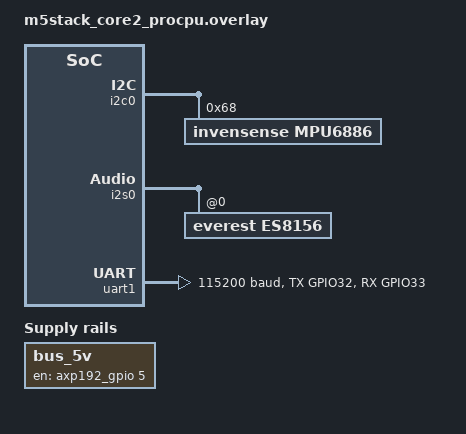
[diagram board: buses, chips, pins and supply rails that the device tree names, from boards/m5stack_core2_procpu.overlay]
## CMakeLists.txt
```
cmake_minimum_required(VERSION 3.20.0)
find_package(Zephyr REQUIRED HINTS $ENV{ZEPHYR_BASE})
project(pet)

FILE(GLOB app_sources src/*.c)

FILE(GLOB gfx_sources src/bitmaps/*.c)

FILE(GLOB lib_sources ../../lib/*.c)

target_sources(app PRIVATE ${gfx_sources} ${app_sources} ${lib_sources})

target_include_directories(app PRIVATE ../../include)
```

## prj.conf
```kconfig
# CONFIG_SDHC_LOG_LEVEL_DBG=y
# CONFIG_LOG_MODE_IMMEDIATE=y
# CONFIG_SPI_LOG_LEVEL_DBG=y
CONFIG_HWINFO=y
CONFIG_EVENTS=y

CONFIG_FPU=y
# Display
CONFIG_LVGL=y
CONFIG_DISPLAY=y
CONFIG_LV_Z_MEM_POOL_SIZE=38000

CONFIG_ESP32_REGION_1_NOINIT=y

# Stack & Runtime
CONFIG_MAIN_STACK_SIZE=4096

# Misc
CONFIG_I2S=y
CONFIG_I2C=y
CONFIG_RTC=y

# UART
CONFIG_SERIAL=y
CONFIG_UART_INTERRUPT_DRIVEN=y
CONFIG_UART_ESP32=y

# Bluetooth
CONFIG_BT=y
CONFIG_BT_OBSERVER=y
CONFIG_BT_BROADCASTER=y

CONFIG_SHELL=y
CONFIG_SHELL_BACKEND_SERIAL=y
```

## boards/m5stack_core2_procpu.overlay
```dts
&i2c0 {
    mpu6886: mpu6886@68 {
        compatible = "invensense,mpu6886";
        reg = <0x68>;
        status = "okay";
    };
};

&i2s0 {
    status = "okay";
    pinctrl-0 = <&i2s0_default>;
    pinctrl-names = "default";
    #address-cells = <1>;
    #size-cells = <0>;

    es8156: codec@0 {
        compatible = "everest,es8156";
        reg = <0>;
    };
};

&uart1 {
	status = "okay";
	current-speed = <115200>;
	pinctrl-0 = <&uart1_default>;
	pinctrl-names = "default";
};

&pinctrl {

	uart1_default: uart1_default {
		group1 {
			pinmux = <UART1_TX_GPIO32>,
					 <UART1_RX_GPIO33>;
			bias-disable;
		};
	};

	i2s0_default: i2s0_default {
		group1 {
			pinmux = <I2S0_O_WS_GPIO0>,   /* LRCK */
					<I2S0_O_BCK_GPIO12>, /* BCLK */
					<I2S0_O_SD_GPIO2>;   /* SADTA */
			output-enable;
        };
    };
};


/ {

	aliases {
		u1 = &uart1;
		i2s-tx = &i2s0;
	};

	chosen {

		zephyr,console = &uart0;
		zephyr,shell-uart = &uart0;
	};

	bus_5v: bus_5v {
		compatible = "regulator-fixed";
		regulator-name = "bus_5v";
		enable-gpios = <&axp192_gpio 5 GPIO_ACTIVE_HIGH>;
		regulator-boot-on;
	};

};
```

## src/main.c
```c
#include <stdio.h>
#include <string.h>
#include <time.h>

#include <lvgl.h>
#include <lvgl_input_device.h>

#include <zephyr/kernel.h>
#include <zephyr/device.h>
#include <zephyr/devicetree.h>
#include <zephyr/drivers/display.h>
#include <zephyr/drivers/gpio.h>
#include <zephyr/drivers/hwinfo.h>
#include <zephyr/logging/log.h>
#include <zephyr/shell/shell.h>

#include "friends.h"
#include "journal.h"
#include "scenes.h"
#include "comms.h"
#include "os_ble.h"
#include "os_uart.h"
#include "personality.h"

// #include "sound.h"
#include "mood.h"
#include "rtc.h"
#include "mpu6886.h"

#define GAME_EVT_JOURNAL_RX_DONE 0x01
#define GAME_EVT_OTHER_PET_CONNECTED 0x02
#define GAME_EVT_OTHER_PET_RSSI 0x04
#define GAME_EVT_RTC_UPDATED 0x08
#define GAME_EVT_ACCEL_SHAKE 0x10

#define GAME_EVTS_ALL GAME_EVT_JOURNAL_RX_DONE | GAME_EVT_OTHER_PET_CONNECTED | GAME_EVT_OTHER_PET_RSSI | GAME_EVT_RTC_UPDATED | GAME_EVT_ACCEL_SHAKE

#define UART_JOURNAL_TX_COOLDOWN 100

struct k_timer comms_state_timer;
struct k_timer mini_check_timer;

struct k_event game_event_block;
struct k_sem uart_srvc_lock;

pet_exchange_state_pkt_s pex_state_pkt;
pet_exchange_state_pkt_s their_pex_state_pkt;

pet_exchange_journal_evt_pkt_s my_pex_journal_evt_pkt;
pet_exchange_journal_evt_pkt_s their_pex_journal_evt_pkt;

pet_personality_pkt_s my_pet_ppy_pkt;
pet_personality_pkt_s their_pet_ppy_pkt;

pet_wfc_pkt_demo_cmd_s pet_wfc_demo_pkt;
// NOTE: this will control the initial RTC time
pet_wfc_rtc_pkt_s pet_wfc_rtc_pkt = {
	.day = 17,
	.month = 3,
	.year = 102,

	.hrs = 13,
	.mins = 0,
	.secs = 0

};
pet_wfc_weather_pkt_s pet_wfc_weather_pkt;

pet_uart_srvc_rssi_pkt_s pet_uart_srvc_rssi_pkt;

struct tm time_state_container = {
	.tm_hour = 0,
	.tm_min = 0,
	.tm_sec = 0,

	.tm_mday = 0,
	.tm_mon = 0,
	.tm_year = 0};

struct tm epoch_container = {
	.tm_hour = 0,
	.tm_min = 0,
	.tm_sec = 0,

	.tm_mday = 0,
	.tm_mon = 0,
	.tm_year = 0};

time_t epoch;

os_uart_passthru_s uart_passthru_rx = {
	.len = -1,
	.buff = {0}};

os_uart_passthru_s uart_passthru_tx = {
	.len = -1,
	.buff = {0}};

typedef struct
{

	int count;
	int rendered;
} shake_state_s;

pex_uuid_t close_mate = 0x0000;

#define ACCEL_POLL_PERIOD 500

#define SHAKE_MAGNITUDE_THRESH 3
#define SHAKE_COUNT_THRESH 6

#define SHAKE_RENDER_LOOPS 14

shake_state_s shake_state = {
	.count = 0,
	.rendered = 0};

void update_epoch_from_pkt()
{

	epoch_container.tm_hour = pet_wfc_rtc_pkt.hrs;
	epoch_container.tm_min = pet_wfc_rtc_pkt.mins;
	epoch_container.tm_sec = pet_wfc_rtc_pkt.secs;

	epoch_container.tm_mday = pet_wfc_rtc_pkt.day;
	epoch_container.tm_mon = pet_wfc_rtc_pkt.month;
	epoch_container.tm_year = pet_wfc_rtc_pkt.year + 1900;

	epoch = mktime(&epoch_container);
}

void update_pkt_from_epoch()
{

	pet_wfc_rtc_pkt.hrs = epoch_container.tm_hour;
	pet_wfc_rtc_pkt.mins = epoch_container.tm_min;
	pet_wfc_rtc_pkt.secs = epoch_container.tm_sec;

	pet_wfc_rtc_pkt.day = epoch_container.tm_mday;
	pet_wfc_rtc_pkt.month = epoch_container.tm_mon;
	pet_wfc_rtc_pkt.year = epoch_container.tm_year - 1900;
}

void init_personality()
{

	// hwinfo_get_device_id((uint8_t *)pet_pex_id, sizeof(pex_uuid_t));
	uint8_t device_id[2];
	hwinfo_get_device_id(device_id, sizeof(device_id));
	pet_pex_id = device_id[0] << 8 | device_id[1]; 
	printf("Device ID: 0x%04X\n", pet_pex_id);

	my_pet_ppy_pkt.id = pet_pex_id;
	my_pet_ppy_pkt.sprite = their_pet_ppy_pkt.sprite;

	my_pet_ppy_pkt.fav_drink = pet_favs.drink;
	my_pet_ppy_pkt.fav_food = pet_favs.food;
	my_pet_ppy_pkt.fav_scene = pet_favs.scene;
	my_pet_ppy_pkt.fav_temp = pet_favs.temp;
	my_pet_ppy_pkt.fav_time = pet_favs.time;

	memcpy(my_pet_ppy_pkt.weights, pet_personality_weights, PET_ATTR_NEG_MAX);
}

void update_personality()
{

	pet_favs.drink = their_pet_ppy_pkt.fav_drink;
	pet_favs.food = their_pet_ppy_pkt.fav_food;
	pet_favs.scene = their_pet_ppy_pkt.fav_scene;
	pet_favs.temp = their_pet_ppy_pkt.fav_temp;
	pet_favs.time = their_pet_ppy_pkt.fav_time;

	memcpy(pet_personality_weights, their_pet_ppy_pkt.weights, PET_ATTR_NEG_MAX);

	// update my_pet_ppy_pkt
	init_personality();
	scenes_set_sprite(my_pet_ppy_pkt.sprite);
}

uint16_t get_since_epoch()
{
	time_t current = mktime(&time_state_container);
	return (uint16_t)(current - epoch);
}

void comms_state_timeout(struct k_timer *timer)
{

	if (timer == NULL || k_sem_take(&uart_srvc_lock, K_NO_WAIT))
	{
		return;
	}

	mod_mood_e mapped_mood = MOD_MOOD_NEUTRAL;
	switch (pet_mood.expression)
	{
	case EXPRESSION_ENLIGHTENED:
		mapped_mood = MOD_MOOD_HAPPY;
		break;
	case EXPRESSION_V_HAPPY:
		mapped_mood = MOD_MOOD_HAPPY;
		break;
	case EXPRESSION_HAPPY:
		mapped_mood = MOD_MOOD_HAPPY;
		break;
	case EXPRESSION_NEUTRAL:
		mapped_mood = MOD_MOOD_NEUTRAL;
		break;
	case EXPRESSION_SAD:
		mapped_mood = MOD_MOOD_SAD;
		break;
	case EXPRESSION_V_SAD:
		mapped_mood = MOD_MOOD_SAD;
		break;
	case EXPRESSION_ANGRY:
		mapped_mood = MOD_MOOD_ANGRY;
		break;
	case EXPRESSION_SLEEPY:
		mapped_mood = MOD_MOOD_SLEEPY;
		break;
	default:
		mapped_mood = MOD_MOOD_NEUTRAL;
		break;
	}
	scenes_set_mood(mapped_mood);

	pex_state_pkt.scene = (uint8_t)scenes_state.main_scene;

	pex_state_pkt.scene_weather = (uint8_t)pet_mood.happiness / 4;
	pex_state_pkt.scene_mood = (uint8_t)pet_mood.energy / 4;
	pex_state_pkt.scene_time = (uint8_t)pet_mood.health / 4;
	pex_state_pkt.scene_temp = (uint8_t)pet_mood.interaction / 4;

	pex_state_pkt.held_drink = (uint8_t)pet_mood.expression;
	pex_state_pkt.held_food = (uint8_t)pet_mood.affection / 4;

	uart_passthru_rx.len = serialize_pet_exchange_state_pkt(&pex_state_pkt, uart_passthru_rx.buff);
	os_uart_passthru(&uart_passthru_rx);

	uart_passthru_rx.len = serialize_pet_personality_pkt(&my_pet_ppy_pkt, uart_passthru_rx.buff);
	os_uart_passthru(&uart_passthru_rx);

	k_sem_give(&uart_srvc_lock);
}

void process_ble_passthru_packet()
{

	switch (uart_passthru_rx.buff[0])
	{

	case PET_PKT_WFC_DEMO_COMMAND:
		deserialize_pet_wfc_demo_cmd_pkt(&pet_wfc_demo_pkt, uart_passthru_rx.buff);

		switch (pet_wfc_demo_pkt.cmd_id)
		{

		case PET_WFC_CMD_CHANGE_SCENE:
			scenes_set_main(pet_wfc_demo_pkt.cmd_arg);
			break;
		case PET_WFC_CMD_CHANGE_MOOD:
			scenes_set_mood(pet_wfc_demo_pkt.cmd_arg);
			break;
		case PET_WFC_CMD_CHANGE_TIME:
			scenes_set_time(pet_wfc_demo_pkt.cmd_arg);
			break;

		case PET_WFC_CMD_ADD_FRIEND:
			if (pet_wfc_demo_pkt.cmd_arg == PEX_ID_RESERVED_NULL)
			{
				// requests our friends list

				break;
			}

			friends_add_friend(pet_wfc_demo_pkt.cmd_arg);
			break;
		case PET_WFC_CMD_REM_FRIEND:
			friends_rem_friend(pet_wfc_demo_pkt.cmd_arg);
			break;
		case PET_WFC_CMD_ADD_ENEMY:
			if (pet_wfc_demo_pkt.cmd_arg == PEX_ID_RESERVED_NULL)
			{
				// requests our enemies list

				break;
			}

			friends_add_enemy(pet_wfc_demo_pkt.cmd_arg);
			break;
		case PET_WFC_CMD_REM_ENEMY:
			friends_rem_friend(pet_wfc_demo_pkt.cmd_arg);
			break;

		case PET_WFC_CMD_GET_TIME:

			k_sem_take(&uart_srvc_lock, K_FOREVER);

			update_pkt_from_epoch();

			uart_passthru_tx.len = serialize_pet_wfc_rtc_pkt(
				&pet_wfc_rtc_pkt, uart_passthru_tx.buff);
			os_uart_passthru(&uart_passthru_tx);

			k_sem_give(&uart_srvc_lock);
			break;

		case PET_WFC_CMD_INIT_CONN:
			scenes_show_wfc_icon(true);
			break;
		case PET_WFC_CMD_CLOSE_CONN:
			scenes_show_wfc_icon(false);
			break;

		default:
			break;
		}

	case PET_PKT_WFC_WEATHER_UPDATE:
		deserialize_pet_wfc_weather_pkt(&pet_wfc_weather_pkt, uart_passthru_rx.buff);

		scenes_set_weather(pet_wfc_weather_pkt.weather);
		scenes_set_temp_from_int_c(pet_wfc_weather_pkt.temp_c);
		break;
	case PET_PKT_WFC_RTC_UPDATE:
		deserialize_pet_wfc_rtc_pkt(&pet_wfc_rtc_pkt, uart_passthru_rx.buff);

		update_epoch_from_pkt();

		rtc_set_datetime(pet_wfc_rtc_pkt.year, pet_wfc_rtc_pkt.month,
						 pet_wfc_rtc_pkt.day, pet_wfc_rtc_pkt.hrs,
						 pet_wfc_rtc_pkt.mins, pet_wfc_rtc_pkt.secs);
		break;

	case PET_PKT_PPY_PERSONALITY:
		deserialize_pet_personality_pkt(&their_pet_ppy_pkt, uart_passthru_rx.buff);

		if (their_pet_ppy_pkt.id == SIENNA_MF_ID)
		{
			// request came from da club, update my personality
			update_personality();
			break;
		}

		// other pet's personality, do something with it
		break;

	case PET_PKT_PEX_STATE:
		deserialize_pet_exchange_state_pkt(&their_pex_state_pkt, uart_passthru_rx.buff);

		// other pet's state, do something with it
		break;

	case PET_PKT_PEX_JOURNAL_EVT:
		deserialize_pet_exchange_journal_evt_pkt(&their_pex_journal_evt_pkt, uart_passthru_rx.buff);

		if (their_pex_journal_evt_pkt.index == JOURNAL_REQUEST_MAGIC_NUM)
		{
			// send my journal
			k_sem_take(&uart_srvc_lock, K_FOREVER);

			int to_tx = journal_idx;

			for (int i = 0; i < to_tx; i++)
			{

				my_pex_journal_evt_pkt.index = i == to_tx - 1
					? JOURNAL_FINISHED_MAGIC_NUM
					: i;

				my_pex_journal_evt_pkt.id = pet_pex_id;

				journal_dupe_entry(&my_pex_journal_evt_pkt.entry, &journal[i]);

				uart_passthru_tx.len = serialize_pet_exchange_journal_evt_pkt(
					&my_pex_journal_evt_pkt, uart_passthru_tx.buff);
				os_uart_passthru(&uart_passthru_tx);

				// make sure we dont miss any packets here
				// its ok for this to be hacky and take longer
				// since this transfer typically only happens once
				k_sleep(K_MSEC(UART_JOURNAL_TX_COOLDOWN));
			}

			os_uart_passthru(&uart_passthru_tx);
			k_sem_give(&uart_srvc_lock);
			break;
		}

		// partner's journal, let's add it
		journal_partner_add_entry(&their_pex_journal_evt_pkt.entry);
		if (their_pex_journal_evt_pkt.index == JOURNAL_FINISHED_MAGIC_NUM)
		{
			k_event_post(&game_event_block, GAME_EVT_JOURNAL_RX_DONE);
		}
		break;

	case PET_PKT_UART_RSSI:
		deserialize_pet_uart_srvc_rssi_pkt(&pet_uart_srvc_rssi_pkt, uart_passthru_rx.buff);
		k_event_post(&game_event_block, GAME_EVT_OTHER_PET_RSSI);

		break;

	default:
		break;
	}
}

/* <-- UART_HANDLER -->
 *
 * responsible for managing UART comms with the uplink
 * and scene updates after one-shot operations
 *
 * own's the partner's journal
 *
 * WARNING: no other thread should add to partner's journal
 * WARNING: no other thread should rx/tx UART */

K_THREAD_STACK_DEFINE(stack_uart_handler, 2048);
struct k_thread thread_uart_handler_data;

static void thread_uart_handler(void *a, void *b, void *c)
{

	k_timer_init(&comms_state_timer, comms_state_timeout, NULL);
	k_timer_start(&comms_state_timer, K_SECONDS(3), K_SECONDS(3));

	while (true)
	{

		k_msgq_get(&os_uart_rxq, &uart_passthru_rx, K_FOREVER);
		process_ble_passthru_packet();
	}
}

void mini_check_timeout(struct k_timer *timer)
{

	scenes_update_mini_pkt_register(k_uptime_get());
}

/* <-- GAME_HANDLER -->

 * responsible for managing journal entries
 * and scene updates after long-running operations
 *
 * own's my journal
 *
 * WARNING: no other thread should add to journal */

mpu6886_accel_t accel;

K_THREAD_STACK_DEFINE(stack_game_handler, 4096);
struct k_thread thread_game_handler_data;

static void thread_game_handler(void *a, void *b, void *c)
{

	uint32_t game_events = 0;
	float magnitude = 1;

	// start our day :)
	journal_add_entry(JOURNAL_EVT_WAKE, get_since_epoch());

	k_timer_init(&mini_check_timer, mini_check_timeout, NULL);
	k_timer_start(&mini_check_timer, K_SECONDS(5), K_SECONDS(5));

	while (true)
	{

		game_events = k_event_wait(&game_event_block, GAME_EVTS_ALL, true, K_FOREVER);

		if (game_events & GAME_EVT_JOURNAL_RX_DONE)
		{
			// should display the appropriate screen here
		}

		if (game_events & GAME_EVT_OTHER_PET_CONNECTED)
		{
			journal_add_entry(JOURNAL_EVT_VISIT, get_since_epoch());
		}

		if (game_events & GAME_EVT_OTHER_PET_RSSI)
		{

			if (scenes_process_mini_pkt_rx(k_uptime_get(), pet_uart_srvc_rssi_pkt.pex_state.scene,
				pet_uart_srvc_rssi_pkt.id, pet_uart_srvc_rssi_pkt.sprite)) {
					goto LBL_SKIP_JOURNAL_LOG;
				}

			switch (friends_pex_id_is_what(pet_uart_srvc_rssi_pkt.id))
			{
			case FRIENDSHIP_FRIEND:
				journal_add_entry(JOURNAL_EVT_PROX_FRIEND, get_since_epoch());
				break;
			case FRIENDSHIP_ENEMY:
				journal_add_entry(JOURNAL_EVT_PROX_ENEMY, get_since_epoch());
				break;

			default:
				break;
			}

			LBL_SKIP_JOURNAL_LOG:

			if (pet_uart_srvc_rssi_pkt.rssi > -80)
			{
				scenes_allow_wfc();
				close_mate = pet_uart_srvc_rssi_pkt.id;
			}
		}

		if (game_events & GAME_EVT_RTC_UPDATED)
		{
			// check current time and if diff to last then
			// add journal for sleepy or whatever
		}

		if (game_events & GAME_EVT_ACCEL_SHAKE)
		{

			shake_state.count += 1;

			if (shake_state.count > SHAKE_COUNT_THRESH)
			{
				switch (shake_state.rendered)
				{
				case 0:
					// we're sick, toggle log and render
					scenes_toggle_sick();
					journal_add_entry(JOURNAL_EVT_SHAKE, get_since_epoch());
					shake_state.rendered = 1;
					break;
				default:
					// we haven't rendered yet, do nothing.
					// NOTE: next state change set by main thread
					break;
				}
			}
		}
	}
}

K_THREAD_STACK_DEFINE(stack_mood_handler, MOOD_THREAD_STACK_SIZE);
struct k_thread thread_mood_handler_data;

void mood_thread(void *arg1, void *arg2, void *arg3)
{
	mpu6886_accel_t accel;
	float accel_mag;
	while (1)
	{
		if (k_mutex_lock(&mood_mutex, K_MSEC(50)) == 0)
		{
			mood_step();
			mpu6886_read_accel(&accel);
			accel_mag = mpu6886_get_adjusted_accel_magnitude(&accel);
			if (accel_mag > 1)
			{
				pet_mood.health -= 50;
				k_event_post(&game_event_block, GAME_EVT_ACCEL_SHAKE);
			}
			// mood_print(&pet_mood);
			k_mutex_unlock(&mood_mutex);
		}
		// display_update_mood();
		k_sleep(K_MSEC(100));
	}
}

int main()
{

	const struct device *display_dev;
	k_tid_t tid_uart_handler, tid_game_handler, tid_mood_handler;

	display_dev = DEVICE_DT_GET(DT_CHOSEN(zephyr_display));
	if (!device_is_ready(display_dev))
	{
		return 1;
	}

	k_sem_init(&uart_srvc_lock, 1, 1);

	update_epoch_from_pkt();

	rtc_set_datetime(pet_wfc_rtc_pkt.year, pet_wfc_rtc_pkt.month,
					 pet_wfc_rtc_pkt.day, pet_wfc_rtc_pkt.hrs,
					 pet_wfc_rtc_pkt.mins, pet_wfc_rtc_pkt.secs);

	mood_init();
	sound_init();
	if (mpu6886_init())
	{
		return 2;
	}

	init_personality();

	if (!os_ble_init())
	{
		return 3;
	}

	if (!os_uart_init())
	{
		return 4;
	};

	if (!device_is_ready(mpu6886_i2c.bus))
	{
		return 5;
	}

	k_event_init(&game_event_block);

	friends_add_friend(0xBABA);

	tid_uart_handler = k_thread_create(
		&thread_uart_handler_data,
		stack_uart_handler,
		K_THREAD_STACK_SIZEOF(stack_uart_handler),
		thread_uart_handler,
		NULL, NULL, NULL,
		2, 0, K_NO_WAIT);

	tid_game_handler = k_thread_create(
		&thread_game_handler_data,
		stack_game_handler,
		K_THREAD_STACK_SIZEOF(stack_game_handler),
		thread_game_handler,
		NULL, NULL, NULL,
		2, 0, K_NO_WAIT);

	tid_mood_handler = k_thread_create(
		&thread_mood_handler_data,
		stack_mood_handler,
		K_THREAD_STACK_SIZEOF(stack_mood_handler),
		mood_thread,
		NULL, NULL, NULL,
		MOOD_THREAD_PRIORITY, 0, K_NO_WAIT);

	scenes_init();
	comms_state_timeout(NULL); // should set the daynight cycle properly
	scenes_draw();

	display_blanking_off(display_dev);

	int connect_counter = 0;

	while (1)
	{

		// main thread's only job is
		// screen refresh 2Hz
		scenes_draw();
		k_sleep(K_MSEC(100));

		get_since_epoch();

		// update the scene from the RTC
		if (time_state_container.tm_hour < 6)
		{
			scenes_set_time(MOD_TIME_NIGHT);
		}
		else if (time_state_container.tm_hour < 12)
		{
			scenes_set_time(MOD_TIME_MORNING);
		}
		else if (time_state_container.tm_hour < 18)
		{
			scenes_set_time(MOD_TIME_AFTERNOON);
		}
		else if (time_state_container.tm_hour < 24)
		{
			scenes_set_time(MOD_TIME_NIGHT);
		}

		if (shake_state.rendered > 0)
		{
			shake_state.rendered += 1;
		}

		if (scenes_state.allow_wfc) {
			connect_counter += 1;

			if (connect_counter == 20) {
				scenes_delete_wfc();
				connect_counter = 0;
			}
		}

		// get rid of sick for next iter
		if (shake_state.rendered == SHAKE_RENDER_LOOPS)
		{
			scenes_toggle_sick();
			shake_state.count = 0;
			shake_state.rendered = 0;
		}

		if (scenes_state.do_wfc)
		{
			pet_wfc_demo_pkt.cmd_id = PET_WFC_CMD_INIT_CONN;
			pet_wfc_demo_pkt.cmd_arg = close_mate;

			uart_passthru_tx.len = serialize_pet_wfc_demo_cmd_pkt(
				&pet_wfc_demo_pkt, uart_passthru_tx.buff);
			os_uart_passthru(&uart_passthru_tx);

			scenes_state.do_wfc = false;
		}
	}
}

static int cmd_set_time(const struct shell *shell, size_t argc, char **argv)
{
	if (argc != 7)
	{
		shell_error(shell, "Usage: set_time <year> <month> <day> <hour> <min> <sec>");
		return -EINVAL;
	}

	uint16_t year = atoi(argv[1]);
	uint8_t month = atoi(argv[2]);
	uint8_t day = atoi(argv[3]);
	uint8_t hour = atoi(argv[4]);
	uint8_t minute = atoi(argv[5]);
	uint8_t second = atoi(argv[6]);

	int ret = rtc_set_datetime(year, month, day, hour, minute, second);
	if (ret < 0)
	{
		shell_error(shell, "Failed to set time: %d", ret);
		return ret;
	}

	shell_print(shell, "Time set successfully");
	return 0;
}

static int cmd_get_time(const struct shell *shell, size_t argc, char **argv)
{
	ARG_UNUSED(argc);
	ARG_UNUSED(argv);

	int year;
	int month, day, hour, minute, second;

	int ret = rtc_get_datetime(&year, &month, &day, &hour, &minute, &second);
	if (ret < 0)
	{
		shell_error(shell, "Failed to get RTC time: %d", ret);
		return ret;
	}

	shell_print(shell, "Current time: %04d-%02d-%02d %02d:%02d:%02d",
				year, month, day, hour, minute, second);

	return 0;
}

SHELL_STATIC_SUBCMD_SET_CREATE(
	rtc_cmds,
	SHELL_CMD(set, NULL, "Set RTC time (year month day hour min sec)", cmd_set_time),
	SHELL_CMD(get, NULL, "Get current RTC time", cmd_get_time),
	SHELL_SUBCMD_SET_END);

SHELL_CMD_REGISTER(rtc, &rtc_cmds, "RTC commands", NULL);
```

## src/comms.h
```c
#ifndef COMMS_H
#define COMMS_H

#include <stdint.h>

#include "scenes.h"
#include "personality.h"
#include "journal.h"

#define SIENNA_MF_ID 0x4369

#define BLE_SERV_UUID16_PPY 0x4369
#define BLE_SERV_UUID16_PEX 0xCAFE
#define BLE_SERV_UUID16_WFC 0xFEED

typedef struct {

	pex_uuid_t id;

	sprite_s sprite;

	main_scenes_e fav_scene;
	mod_weather_e fav_weather;
	mod_time_e fav_time;
	mod_temp_e fav_temp;

	foods_e fav_food;
	drinks_e fav_drink;

	uint16_t weights[PET_ATTR_NEG_MAX];
} pet_personality_pkt_s;

typedef struct {

	main_scenes_e scene;
	mod_weather_e scene_weather;
	mod_mood_e scene_mood;
	mod_time_e scene_time;
	mod_temp_e scene_temp;

	foods_e held_food;
	drinks_e held_drink;

} pet_exchange_state_pkt_s;

typedef struct {

	journal_entry_s journal[JOURNAL_MAX_ENTRIES];
} pet_exchange_journal_pkt_s;

typedef struct {


} pet_wfc_pkt_s;

void serialize_pet_personality_pkt(pet_personality_pkt_s *pkt, uint8_t *buffer);
bool deserialize_pet_personality_pkt(pet_personality_pkt_s *pkt, uint8_t *buffer);

void serialize_pet_exchange_state_pkt(pet_exchange_state_pkt_s *pkt, uint8_t *buffer);
bool deserialize_pet_exchange_state_pkt(pet_exchange_state_pkt_s *pkt, uint8_t *buffer);

void serialize_pet_exchange_journal_pkt(pet_exchange_journal_pkt_s *pkt, uint8_t *buffer);
bool deserialize_pet_exchange_journal_pkt(pet_exchange_journal_pkt_s *pkt, uint8_t *buffer);

#endif
```

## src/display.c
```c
// #include <zephyr/kernel.h>
// #include <zephyr/logging/log.h>
// #include <lvgl.h>
// #include "mood.h"
// #include "display.h"
// #include "sound.h"

// LOG_MODULE_REGISTER(display, CONFIG_LOG_DEFAULT_LEVEL);

// static lv_obj_t *bars[5];
// static lv_obj_t *labels[5];
// static lv_obj_t *expression_label;  // New label for expression

// void display_update_mood(void)
// {
//     const char *names[] = {"Affection", "Happiness", "Energy", "Health", "Interaction"};
//     struct mood_state local_copy;
    
//     // Safely copy mood state
//     if(k_mutex_lock(&mood_mutex, K_MSEC(10)) == 0) {
//         memcpy(&local_copy, &pet_mood, sizeof(local_copy));
//         k_mutex_unlock(&mood_mutex);
//     } else {
//         LOG_WRN("Mood update skipped (mutex busy)");
//         return;
//     }

//     for (int i = 0; i < 5; i++) {
//         int value;
//         switch (i) {
//             case 0: value = local_copy.affection; break;
//             case 1: value = local_copy.happiness; break;
//             case 2: value = local_copy.energy; break;
//             case 3: value = local_copy.health; break;
//             case 4: value = local_copy.interaction; break;
//             default: value = 0; break;
//         }

//         lv_bar_set_value(bars[i], value / 10, LV_ANIM_ON);
//         char buf[32];
//         snprintf(buf, sizeof(buf), "%s: %d", names[i], value);
//         lv_label_set_text(labels[i], buf);
//     }

//     if (local_copy.expression >= EXPRESSION_ENLIGHTENED && 
//         local_copy.expression <= EXPRESSION_SLEEPY) {
//         lv_label_set_text(expression_label, 
//                          expression_strings[local_copy.expression]);
//     } else {
//         lv_label_set_text(expression_label, "UNKNOWN");
//     }
// }

// static void feed_button_cb(lv_event_t *e)
// {
//     ARG_UNUSED(e);
    
//     if (k_mutex_lock(&mood_mutex, K_MSEC(10)) == 0) {
//         pet_mood.energy = MIN(pet_mood.energy + 100, MAX_STATE_VALUE);
//         k_mutex_unlock(&mood_mutex);
        
//         LOG_INF("Fed pet! Energy: %d", pet_mood.energy);
//         sound_play();
//         display_update_mood();
//     } else {
//         LOG_WRN("Couldn't feed - mood system busy");
//     }
// }

// void display_init(const struct device *display_dev)
// {
//     // container for mood bars
//     lv_obj_t *cont = lv_obj_create(lv_scr_act());
//     lv_obj_set_size(cont, LV_PCT(90), LV_PCT(60));  // Reduced height for expression
//     lv_obj_align(cont, LV_ALIGN_TOP_MID, 0, 20);
//     lv_obj_set_flex_flow(cont, LV_FLEX_FLOW_ROW);
//     lv_obj_set_flex_align(cont, LV_FLEX_ALIGN_SPACE_EVENLY, LV_FLEX_ALIGN_CENTER, LV_FLEX_ALIGN_CENTER);
    
//     // bars and labels
//     const char *names[] = {"Affection", "Happiness", "Energy", "Health", "Interaction"};
//     for (int i = 0; i < 5; i++) {
//         lv_obj_t *bar_cont = lv_obj_create(cont);
//         lv_obj_set_size(bar_cont, LV_PCT(18), LV_PCT(100));
//         lv_obj_set_style_pad_all(bar_cont, 5, 0);
        
//         bars[i] = lv_bar_create(bar_cont);
//         lv_obj_set_size(bars[i], LV_PCT(100), LV_PCT(70));
//         lv_bar_set_range(bars[i], 0, 100);
//         lv_obj_align(bars[i], LV_ALIGN_TOP_MID, 0, 0);
        
//         labels[i] = lv_label_create(bar_cont);
//         lv_label_set_text(labels[i], names[i]);
//         lv_obj_align(labels[i], LV_ALIGN_BOTTOM_MID, 0, 0);
//     }

//     // expression label
//     expression_label = lv_label_create(lv_scr_act());
//     lv_obj_align(expression_label, LV_ALIGN_TOP_MID, 0, 0);
//     lv_label_set_text(expression_label, "NEUTRAL");

//     // feed me button
//     lv_obj_t *btn = lv_btn_create(lv_scr_act());
//     lv_obj_align(btn, LV_ALIGN_BOTTOM_MID, 0, -20);
//     lv_obj_add_event_cb(btn, feed_button_cb, LV_EVENT_CLICKED, NULL);
    
//     lv_obj_t *btn_label = lv_label_create(btn);
//     lv_label_set_text(btn_label, "Feed Me!");
//     lv_obj_center(btn_label);

//     display_update_mood();
//     display_blanking_off(display_dev);
// }
```

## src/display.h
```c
#ifndef DISPLAY_H
#define DISPLAY_H

#include <zephyr/kernel.h>
#include <lvgl.h>

/* Scene types to match your existing code */
typedef enum {
    MAIN_SCENE_MEADOW,
    MAIN_SCENE_BEACH,
    MAIN_SCENE_FOREST,
    MAIN_SCENE_CITY,
    MAIN_SCENE_SHOP
} main_scene_e;

typedef enum {
    MOD_MOOD_NEUTRAL,
    MOD_MOOD_ANGRY,
    MOD_MOOD_HAPPY,
    MOD_MOOD_SAD,
    MOD_MOOD_SLEEPY
} mod_mood_e;

typedef enum {
    MOD_WEATHER_SUNNY,
    MOD_WEATHER_CLOUDY,
    MOD_WEATHER_RAINY,
    MOD_WEATHER_SNOWY
} mod_weather_e;

typedef enum {
    MOD_TIME_DAWN,
    MOD_TIME_MORNING,
    MOD_TIME_MIDDAY,
    MOD_TIME_AFTERNOON,
    MOD_TIME_DUSK,
    MOD_TIME_NIGHT
} mod_time_e;

typedef enum {
    TEMP_FRIGID,
    TEMP_COLD,
    TEMP_NEUTRAL,
    TEMP_WARM,
    TEMP_BOILING
} mod_temp_e;

typedef struct {
    main_scene_e main_scene;
    mod_mood_e modifier_mood;
    mod_weather_e modifier_weather;
    mod_time_e modifier_time;
    mod_temp_e modifier_temp;
    uint32_t colour_sky;
    lv_obj_t *current_screen;
    uint8_t held_drink;
    uint8_t held_food;
} scene_state_s;

/* Virtual button event bits */
#define LEFT_DOT_PRESSED   BIT(0)
#define CENTER_DOT_PRESSED BIT(1)
#define RIGHT_DOT_PRESSED  BIT(2)

/* Public API */
void display_init(void);
void display_update_mood(void);
void display_post_event(uint32_t events);
void display_change_scene(main_scene_e scene);
void scenes_set_main(main_scene_e scene);
void scenes_set_mood(mod_mood_e mood);
void scenes_set_weather(mod_weather_e weather);
void scenes_set_time(mod_time_e time);
void scenes_set_temp_from_int_c(int8_t c);
void scenes_draw(void);

/* Global scene state */
extern scene_state_s scenes_state;

#endif /* DISPLAY_H */
```

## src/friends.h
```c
#ifndef FRIENDS_H
#define FRIENDS_H

#include <stdint.h>

typedef uint32_t pex_uuid_t;

void friends_set_pex_id(pex_uuid_t id);

#endif
```

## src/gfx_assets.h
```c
#ifdef __has_include
#if __has_include("lvgl.h")
#ifndef LV_LVGL_H_INCLUDE_SIMPLE
#define LV_LVGL_H_INCLUDE_SIMPLE
#endif
#endif
#endif

#if defined(LV_LVGL_H_INCLUDE_SIMPLE)
#include "lvgl.h"
#else
#include <lvgl.h>
#endif

// misc
extern const lv_image_dsc_t pizza;
extern const lv_image_dsc_t anger;
extern const lv_image_dsc_t pet_wfc;

// scene backgrounds
extern const lv_image_dsc_t scene_forest_day;
extern const lv_image_dsc_t scene_forest_night;

extern const lv_image_dsc_t scene_meadow_day;
extern const lv_image_dsc_t scene_meadow_night;

extern const lv_image_dsc_t scene_beach_day;
extern const lv_image_dsc_t scene_beach_night;

extern const lv_image_dsc_t scene_shop_day;

extern const lv_image_dsc_t scene_city_day;
extern const lv_image_dsc_t scene_city_night;

// character sprites
extern const lv_image_dsc_t sprite_base;
extern const lv_image_dsc_t sprite_ice;
extern const lv_image_dsc_t sprite_cherry;

extern const lv_image_dsc_t sprite_sick;
extern const lv_image_dsc_t sprite_1_sick;
extern const lv_image_dsc_t sprite_2_sick;

extern const lv_image_dsc_t sprite_mini;
extern const lv_image_dsc_t sprite_1_mini;
extern const lv_image_dsc_t sprite_2_mini;

extern const lv_image_dsc_t face_angry;
extern const lv_image_dsc_t face_happy;
extern const lv_image_dsc_t face_sad;
extern const lv_image_dsc_t face_sleepy;
extern const lv_image_dsc_t face_neutral;

extern const lv_image_dsc_t face_1_angry;
extern const lv_image_dsc_t face_1_happy;
extern const lv_image_dsc_t face_1_sad;
extern const lv_image_dsc_t face_1_sleepy;

extern const lv_image_dsc_t face_2_angry;
extern const lv_image_dsc_t face_2_happy;
extern const lv_image_dsc_t face_2_sad;
extern const lv_image_dsc_t face_2_sleepy;
extern const lv_image_dsc_t face_2_neutral;
```

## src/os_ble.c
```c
#include "os_ble.h"

bool os_ble_init() {
	return true;
}
```

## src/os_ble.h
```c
#include <stdbool.h>

bool os_ble_init();
```

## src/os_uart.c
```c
#include <stddef.h>
#include <stdint.h>
#include <string.h>

#include "os_uart.h"

#include <zephyr/device.h>
#include <zephyr/drivers/uart.h>

struct k_msgq os_uart_rxq;

uint8_t os_uart_rx_buff[RX_BUFF_SIZE] = {0};
int rx_buff_idx = 0;

char os_uart_rxq_buff[RX_QUEUE_SIZE * sizeof(os_uart_passthru_s)];

os_uart_inf m_uart_state = {

	.partner_dev = OS_UART_PARTNER,
	.target_size = -1,
	.rx_error = false,
	.rx_overflow = false
};

uint8_t os_uart_evt_flags = 0;

void os_uart_tx(uint8_t *buff, int len) {

	for (int i = 0; i < len; i++) {
		uart_poll_out(m_uart_state.partner_dev, buff[i]);
	}
}

static void uart_cb(const struct device *dev, void *ctx) {

	uint8_t c;

	os_uart_passthru_s passthru_rx = {
		.len = -1,
		.buff = {0}
	};

	if (!uart_irq_update(m_uart_state.partner_dev)) {
		return;
	}

	if (!uart_irq_rx_ready(m_uart_state.partner_dev)) {
		return;
	}

	while (uart_fifo_read(m_uart_state.partner_dev, &c, 1) == 1) {
		if (m_uart_state.target_size == -1) {
			m_uart_state.target_size = c;
			break;
		}

		os_uart_rx_buff[rx_buff_idx++] = c;

		if (rx_buff_idx == m_uart_state.target_size) {
			// done should put on a queue
			memcpy(passthru_rx.buff, os_uart_rx_buff, m_uart_state.target_size);
			passthru_rx.len = m_uart_state.target_size;
			k_msgq_put(&os_uart_rxq, &passthru_rx, K_NO_WAIT);
			rx_buff_idx = 0;
			break;
		}
	}
};

bool os_uart_init() {

	if (!device_is_ready(m_uart_state.partner_dev)) {
		return false;
	}

	k_msgq_init(&os_uart_rxq, os_uart_rxq_buff, sizeof(os_uart_passthru_s), RX_QUEUE_SIZE);

	if (uart_irq_callback_user_data_set(m_uart_state.partner_dev, uart_cb, NULL) < 0) {
		return false;
	}

	uart_irq_rx_enable(m_uart_state.partner_dev);

	return true;
}
```

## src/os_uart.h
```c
#include <stdbool.h>
#include <stdint.h>

#include <zephyr/kernel.h>
#include <zephyr/device.h>

#define OS_UART_PARTNER DEVICE_DT_GET(DT_ALIAS(u1))

#define RX_BUFF_SIZE 256
#define RX_QUEUE_SIZE 5

typedef struct {

	const struct device *partner_dev;
	int target_size;
	bool rx_error;
	bool rx_overflow;
} os_uart_inf;

typedef struct {

	uint8_t buff[RX_BUFF_SIZE];
	int len;
} os_uart_passthru_s;

extern struct k_msgq os_uart_rxq;

extern uint8_t os_uart_evt_flags;

bool os_uart_init();
void os_uart_tx(uint8_t *buff, int len);
```

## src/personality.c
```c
// #include "personality.h"
// #include "scenes.h"

// uint16_t pet_personality_weights[PET_ATTR_NEG_MAX] = {

// 	[PET_ATTR_CHARISMA] = 0,
// 	[PET_ATTR_CONFIDENCE] = 0,
// 	[PET_ATTR_KINDNESS] = 0,
// 	[PET_ATTR_PATIENCE] = 0,

// 	[PET_ATTR_LAZY] = 0,
// 	[PET_ATTR_RUDE] = 0,
// 	[PET_ATTR_GASLIGHT] = 0,
// 	[PET_ATTR_GREEDY] = 0
// };

// pet_favourites_s pet_favs = {

// 	.scene = MAIN_SCENE_BEACH,
// 	.time = MOD_TIME_DUSK,
// 	.weather = MOD_WEATHER_SUNNY,
// 	.temp = TEMP_WARM,

// 	.food = FOOD_KFC,
// 	.drink = DRINK_BEER,
// };
```

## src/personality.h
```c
// #ifndef PERSONALITY_H
// #define PERSONALITY_H

// #include "foods.h"

// #include "friends.h"
// #include "scenes.h"

// typedef enum {

// 	// 'positive' attributes
// 	PET_ATTR_CHARISMA,
// 	PET_ATTR_CONFIDENCE,
// 	PET_ATTR_KINDNESS,
// 	PET_ATTR_PATIENCE,

// 	PET_ATTR_POS_MAX, // keep me before negatives

// 	// 'negative' attributes
// 	PET_ATTR_LAZY,
// 	PET_ATTR_RUDE,
// 	PET_ATTR_GASLIGHT,
// 	PET_ATTR_GREEDY,

// 	PET_ATTR_NEG_MAX // keep me last

// } pet_attributes_e;

// typedef struct {

// 	main_scenes_e scene;
// 	mod_weather_e weather;
// 	mod_time_e time;

// 	foods_e food;
// 	drinks_e drink;

// 	mod_temp_e temp;

// } pet_favourites_s;

// extern uint16_t pet_personality_weights[PET_ATTR_NEG_MAX];
// extern pet_favourites_s pet_favs;

// #endif
```
